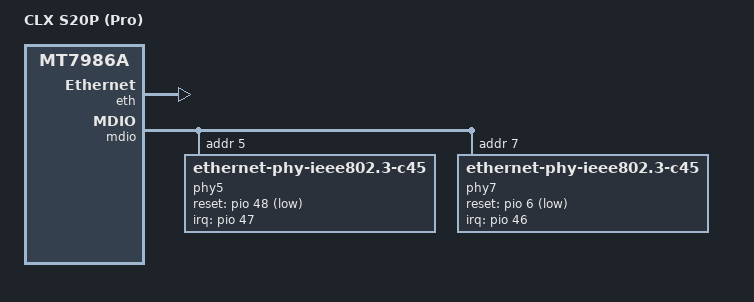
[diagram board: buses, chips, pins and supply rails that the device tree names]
// SPDX-License-Identifier: GPL-2.0-or-later OR MIT

/dts-v1/;
#include "mt7986a-clx-s20-base.dtsi"

/ {
	model = "CLX S20P (Pro)";
	compatible = "clx,s20p", "mediatek,mt7986a";
};

&eth {
	status = "okay";

	gmac1: mac@1 {
		compatible = "mediatek,eth-mac";
		reg = <1>;
		phy-mode = "2500base-x";
		phy-handle = <&phy7>;

		nvmem-cells = <&macaddr_factory_24 0>;
		nvmem-cell-names = "mac-address";
	};
};

&mdio {
	phy5: ethernet-phy@5 {
		compatible = "ethernet-phy-ieee802.3-c45";
		reg = <5>;
		reset-assert-us = <100000>;
		reset-deassert-us = <100000>;
		reset-gpios = <&pio 48 GPIO_ACTIVE_LOW>;
		interrupt-parent = <&pio>;
		interrupts = <47 IRQ_TYPE_LEVEL_LOW>;
		realtek,aldps-enable;
		realtek,led-link-select = <0xa7 0x03 0x0>; /* led0 at 10/100/1000/2.5G/(2.5G lite), led1 at 10/100 */
		realtek,led-act-select = <0x321b>; /* led on time = 400ms, duty = 12.5%, freq = 60ms, Enable 10M LPI, modeA, led0 led1 act */
		/*realtek,led-polarity-select = <0x0018>; */
	};

	phy7: ethernet-phy@7 {
		compatible = "ethernet-phy-ieee802.3-c45";
		reg = <7>;
		reset-assert-us = <100000>;
		reset-deassert-us = <100000>;
		reset-gpios = <&pio 6 GPIO_ACTIVE_LOW>;
		interrupt-parent = <&pio>;
		interrupts = <46 IRQ_TYPE_LEVEL_LOW>;
		realtek,aldps-enable;
		realtek,led-link-select = <0xa7 0x03 0x0>; /* led0 at 10/100/1000/2.5G/(2.5G lite), led1 at 10/100 */
		realtek,led-act-select = <0x321b>; /* led on time = 400ms, duty = 12.5%, freq = 60ms, Enable 10M LPI, modeA, led0 led1 act */
		/*realtek,led-polarity-select = <0x0018>; */
	};
};

&switch {
	reset-gpios = <&pio 5 GPIO_ACTIVE_HIGH>;

	ports {
		#address-cells = <1>;
		#size-cells = <0>;

		port@0 {
			reg = <0>;
			label = "lan5";
		};

		port@5 {
			reg = <5>;
			label = "lan6";
			phy-mode = "2500base-x";
			phy-handle = <&phy5>;
		};
	};
};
